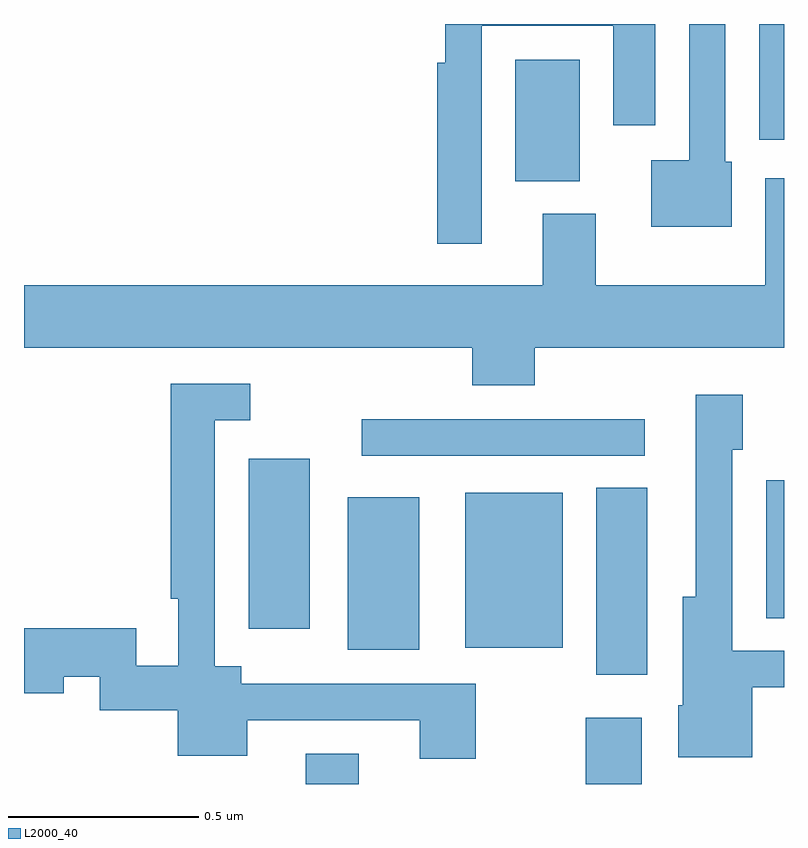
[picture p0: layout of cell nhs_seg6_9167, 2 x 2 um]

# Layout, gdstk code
import gdstk
lib = gdstk.Library(unit=1e-6, precision=1e-09)
def R(c, l, rs):  # rectangles x0, y0, x1, y1
    for r in rs: c.add(gdstk.rectangle(r[:2], r[2:], *l))
def P(c, l, *ps):  # polygons
    for p in ps: c.add(gdstk.Polygon(p, *l))
L2000_40 = (2000, 40)

nhs_seg6_9167 = lib.new_cell('nhs_seg6_9167')
R(nhs_seg6_9167, L2000_40, [(230.741,967.5,230.881,967.579), (231.478,967.5,231.625,967.675), (231.506,967.788,231.64,968.279), (230.852,967.853,231.04,968.254), (231.161,967.859,231.418,968.266), (230.591,967.908,230.752,968.356), (231.953,967.936,232,968.299), (230.889,968.364,231.634,968.46), (231.293,969.086,231.463,969.406), (231.935,969.195,232,969.5)])
P(nhs_seg6_9167, L2000_40, [(231.862,969.138),(231.846,969.138),(231.846,969.5),(231.75,969.5),(231.75,969.142),(231.65,969.142),(231.65,968.966),(231.862,968.966)],
  [(231.204,969.495),(231.551,969.495),(231.551,969.234),(231.661,969.234),(231.661,969.5),(231.108,969.5),(231.108,969.398),(231.088,969.398),(231.088,968.922),(231.204,968.922)],
  [(231.344,968.648),(232,968.648),(232,969.094),(231.95,969.094),(231.95,968.812),(231.505,968.812),(231.505,969.001),(231.365,969.001),(231.365,968.812),(230,968.812),(230,968.648),(231.179,968.648),(231.179,968.549),(231.344,968.549)],
  [(231.189,967.764),(230.572,967.764),(230.572,967.81),(230.502,967.81),(230.502,968.457),(230.596,968.457),(230.596,968.553),(230.386,968.553),(230.386,967.988),(230.406,967.988),(230.406,967.811),(230.295,967.811),(230.295,967.91),(230,967.91),(230,967.739),(230.104,967.739),(230.104,967.782),(230.199,967.782),(230.199,967.694),(230.405,967.694),(230.405,967.574),(230.587,967.574),(230.587,967.668),(231.041,967.668),(231.041,967.566),(231.189,967.566)],
  [(231.916,967.755),(232,967.755),(232,967.851),(231.864,967.851),(231.864,968.379),(231.891,968.379),(231.891,968.524),(231.768,968.524),(231.768,967.993),(231.734,967.993),(231.734,967.707),(231.722,967.707),(231.722,967.571),(231.916,967.571)])

lib.write_gds('nhs_seg6_9167.gds')
